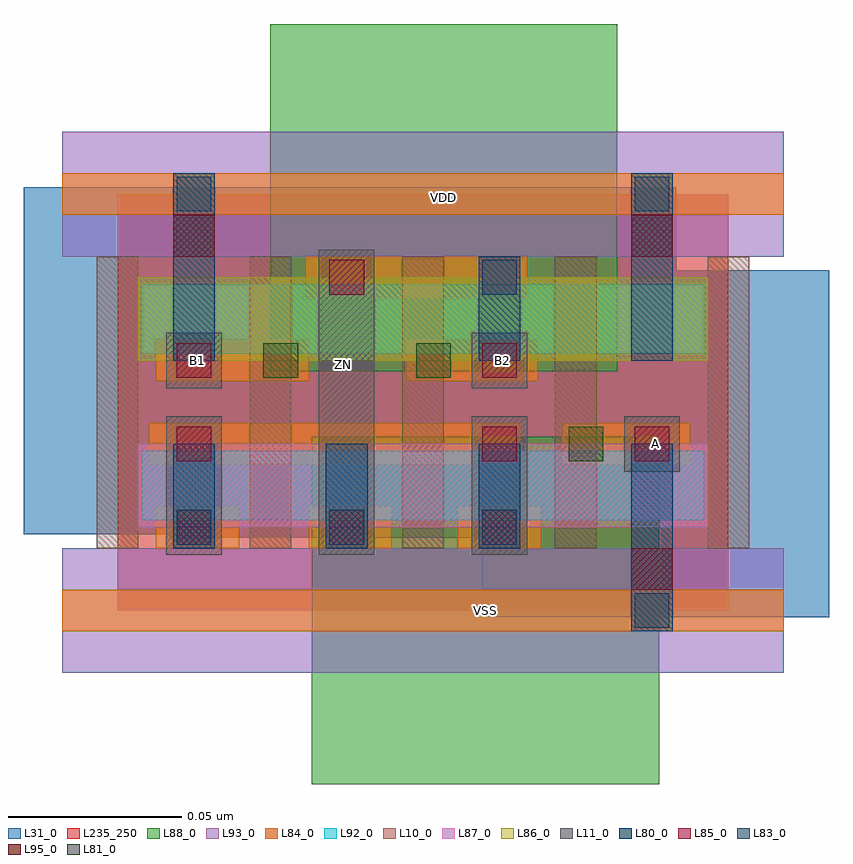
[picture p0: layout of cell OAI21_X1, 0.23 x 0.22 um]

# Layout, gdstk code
import gdstk
lib = gdstk.Library(unit=1e-6, precision=1e-09)
def R(c, l, rs):  # rectangles x0, y0, x1, y1
    for r in rs: c.add(gdstk.rectangle(r[:2], r[2:], *l))
def A(c, l, x, y, w, h, nx, ny, dx, dy):  # array of equal rectangles
    R(c, l, [(x+i*dx, y+j*dy, x+i*dx+w, y+j*dy+h) for i in range(nx) for j in range(ny)])
L10_0 = (10, 0)
L11_0 = (11, 0)
L31_0 = (31, 0)
L80_0 = (80, 0)
L81_0 = (81, 0)
L83_0 = (83, 0)
L84_0 = (84, 0)
L85_0 = (85, 0)
L86_0 = (86, 0)
L87_0 = (87, 0)
L88_0 = (88, 0)
L92_0 = (92, 0)
L93_0 = (93, 0)
L95_0 = (95, 0)
L235_250 = (235, 250)

oai21_x1 = lib.new_cell('OAI21_X1')
A(oai21_x1, L10_0, -0.006, 0.018, 0.012, 0.084, 5, 1, 0.044, 0)
R(oai21_x1, L11_0, [(0.014,0.016,0.03,0.056), (0.058,0.016,0.074,0.104), (0.102,0.016,0.118,0.056), (0.146,0.04,0.162,0.056), (0.014,0.064,0.03,0.08), (0.102,0.064,0.118,0.08)])
R(oai21_x1, L31_0, [(0.105,-0.002,0.205,0.098), (0.015,0.021,0.115,0.121), (-0.027,0.022,0.073,0.122), (0.061,0.022,0.161,0.122)])
A(oai21_x1, L80_0, 0.016, 0.018, 0.012, 0.03, 3, 1, 0.044, 0)
R(oai21_x1, L80_0, [(0.148,-0.006,0.16,0.048), (0.016,0.072,0.028,0.126), (0.104,0.072,0.116,0.102), (0.148,0.072,0.16,0.126)])
R(oai21_x1, L81_0, [(0.13,0.043,0.14,0.053), (0.042,0.067,0.052,0.077), (0.086,0.067,0.096,0.077)])
A(oai21_x1, L83_0, 0.017, 0.019, 0.01, 0.01, 3, 1, 0.044, 0)
R(oai21_x1, L83_0, [(0.149,-0.005,0.159,0.005), (0.105,0.091,0.115,0.101), (0.017,0.115,0.027,0.125), (0.149,0.115,0.159,0.125)])
R(oai21_x1, L84_0, [(-0.016,-0.006,0.192,0.006), (0.011,0.018,0.035,0.03), (0.055,0.018,0.079,0.03), (0.098,0.018,0.122,0.03), (0.009,0.042,0.116,0.054), (0.128,0.042,0.165,0.054), (0.011,0.066,0.055,0.078), (0.083,0.066,0.121,0.078), (0.054,0.09,0.118,0.102), (-0.016,0.114,0.192,0.126)])
A(oai21_x1, L85_0, 0.017, 0.019, 0.01, 0.01, 3, 1, 0.044, 0)
R(oai21_x1, L85_0, [(0.017,0.043,0.027,0.053), (0.105,0.043,0.115,0.053), (0.149,0.043,0.159,0.053), (0.017,0.067,0.027,0.077), (0.105,0.067,0.115,0.077), (0.061,0.091,0.071,0.101)])
R(oai21_x1, L86_0, [(0.006,0.072,0.17,0.096)])
R(oai21_x1, L87_0, [(0.006,0.024,0.17,0.048)])
R(oai21_x1, L88_0, [(0.056,-0.05,0.156,0.05), (0.044,0.069,0.144,0.169)])
R(oai21_x1, L92_0, [(0.007,0.026,0.169,0.046), (0.007,0.074,0.169,0.094)])
R(oai21_x1, L93_0, [(-0.016,-0.018,0.192,0.018), (-0.016,0.102,0.192,0.138)])
R(oai21_x1, L95_0, [(0.148,0.006,0.16,0.018), (0.016,0.102,0.028,0.114), (0.148,0.102,0.16,0.114)])
R(oai21_x1, L235_250, [(0,0,0.176,0.12)])
oai21_x1.add(gdstk.Label('VDD', (0.094,0.119), layer=88, texttype=0))
oai21_x1.add(gdstk.Label('VSS', (0.106,0), layer=88, texttype=0))
oai21_x1.add(gdstk.Label('A', (0.155,0.048), layer=31, texttype=0))
oai21_x1.add(gdstk.Label('B1', (0.023,0.072), layer=31, texttype=0))
oai21_x1.add(gdstk.Label('B2', (0.111,0.072), layer=31, texttype=0))
oai21_x1.add(gdstk.Label('ZN', (0.065,0.071), layer=31, texttype=0))

lib.write_gds('OAI21_X1.gds')
